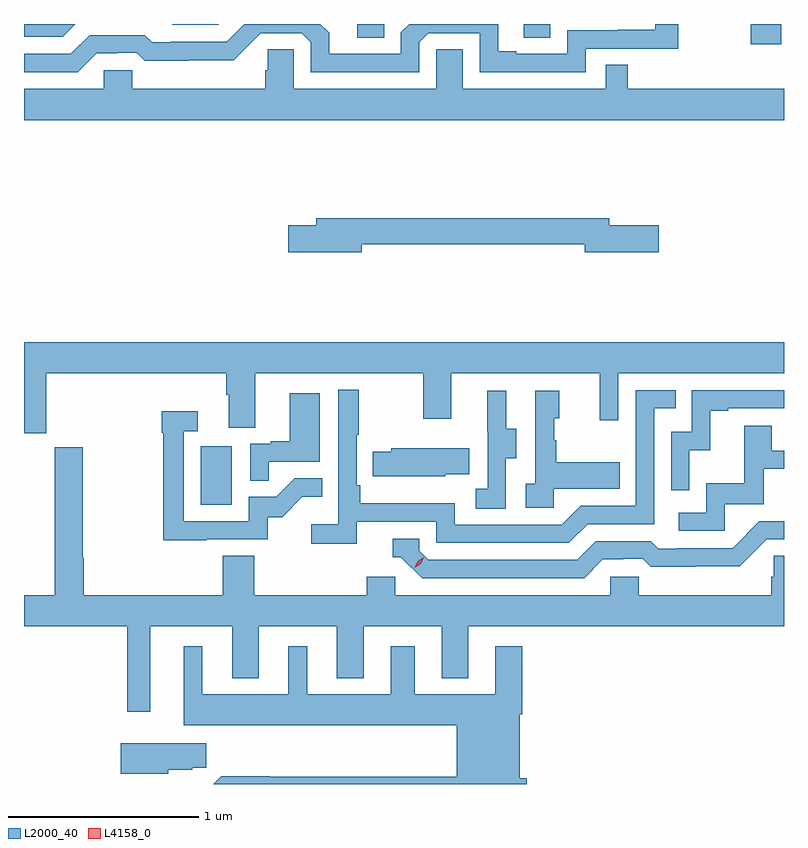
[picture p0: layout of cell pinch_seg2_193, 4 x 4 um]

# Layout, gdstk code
import gdstk
lib = gdstk.Library(unit=1e-6, precision=1e-09)
def R(c, l, rs):  # rectangles x0, y0, x1, y1
    for r in rs: c.add(gdstk.rectangle(r[:2], r[2:], *l))
def P(c, l, *ps):  # polygons
    for p in ps: c.add(gdstk.Polygon(p, *l))
L2000_40 = (2000, 40)
L4158_0 = (4158, 0)

pinch_seg2_193 = lib.new_cell('pinch_seg2_193')
R(pinch_seg2_193, L2000_40, [(998.264,661.596,998.428,661.903), (1001.159,664.02,1001.32,664.126), (999.089,664.054,999.229,664.126), (999.965,664.054,1000.105,664.126), (998.115,664.122,998.358,664.126)])
P(pinch_seg2_193, L2000_40, [(997.604,664.126),(997.334,664.126),(997.334,664.059),(997.537,664.059)],
  [(997.717,663.972),(997.824,663.972),(997.824,663.975),(997.927,663.975),(997.969,663.933),(998.202,663.933),(998.202,663.935),(998.438,663.935),(998.58,664.077),(998.796,664.077),(998.844,664.029),(998.844,663.873),(999.414,663.873),(999.414,664.029),(999.462,664.077),(999.732,664.077),(999.732,663.873),(1000.29,663.873),(1000.29,663.996),(1000.777,663.996),(1000.777,664.126),(1000.656,664.126),(1000.656,664.097),(1000.459,664.097),(1000.459,664.092),(1000.194,664.092),(1000.194,663.969),(999.925,663.969),(999.925,663.982),(999.829,663.982),(999.829,664.126),(999.361,664.126),(999.318,664.083),(999.318,663.969),(998.941,663.969),(998.941,664.079),(998.894,664.126),(998.494,664.126),(998.4,664.032),(998.107,664.032),(998.107,664.029),(998.008,664.029),(997.969,664.068),(997.68,664.068),(997.581,663.969),(997.334,663.969),(997.334,663.873),(997.618,663.873)],
  [(1001.334,663.784),(1000.511,663.784),(1000.511,663.911),(1000.395,663.911),(1000.395,663.784),(999.643,663.784),(999.643,663.992),(999.504,663.992),(999.504,663.784),(998.754,663.784),(998.754,663.992),(998.617,663.992),(998.617,663.882),(998.603,663.882),(998.603,663.784),(997.905,663.784),(997.905,663.882),(997.755,663.882),(997.755,663.784),(997.334,663.784),(997.334,663.62),(1001.334,663.62)],
  [(999.112,662.968),(1000.286,662.968),(1000.286,662.926),(1000.675,662.926),(1000.675,663.068),(1000.414,663.068),(1000.414,663.104),(998.873,663.104),(998.873,663.068),(998.724,663.068),(998.724,662.926),(999.112,662.926)],
  [(997.45,662.288),(998.399,662.288),(998.399,662.176),(998.411,662.176),(998.411,662.002),(998.551,662.002),(998.551,662.288),(999.436,662.288),(999.436,662.049),(999.583,662.049),(999.583,662.288),(1000.364,662.288),(1000.364,662.04),(1000.461,662.04),(1000.461,662.288),(1001.334,662.288),(1001.334,662.452),(997.334,662.452),(997.334,661.971),(997.45,661.971)],
  [(999.086,661.506),(999.504,661.506),(999.504,661.395),(1000.201,661.395),(1000.3,661.494),(1000.65,661.494),(1000.65,662.103),(1000.763,662.103),(1000.763,662.199),(1000.554,662.199),(1000.554,661.59),(1000.263,661.59),(1000.164,661.491),(999.6,661.491),(999.6,661.603),(999.103,661.603),(999.103,661.699),(999.084,661.699),(999.084,661.963),(999.097,661.963),(999.097,662.2),(998.988,662.2),(998.988,661.492),(998.847,661.492),(998.847,661.39),(999.086,661.39)],
  [(1000.836,661.883),(1000.946,661.883),(1000.946,662.091),(1001.041,662.091),(1001.041,662.103),(1001.334,662.103),(1001.334,662.199),(1000.848,662.199),(1000.848,661.98),(1000.74,661.98),(1000.74,661.671),(1000.836,661.671)],
  [(1000.122,661.679),(1000.469,661.679),(1000.469,661.819),(1000.135,661.819),(1000.135,661.934),(1000.125,661.934),(1000.125,662.052),(1000.15,662.052),(1000.15,662.197),(1000.026,662.197),(1000.026,661.706),(999.975,661.706),(999.975,661.581),(1000.122,661.581)],
  [(999.87,661.84),(999.925,661.84),(999.925,661.995),(999.871,661.995),(999.871,662.197),(999.773,662.197),(999.773,661.983),(999.774,661.983),(999.774,661.679),(999.711,661.679),(999.711,661.576),(999.87,661.576)],
  [(998.621,661.821),(998.89,661.821),(998.89,662.182),(998.732,662.182),(998.732,661.93),(998.633,661.93),(998.633,661.917),(998.526,661.917),(998.526,661.723),(998.621,661.723)],
  [(998.297,661.413),(998.616,661.413),(998.616,661.53),(998.692,661.53),(998.799,661.637),(998.903,661.637),(998.903,661.736),(998.759,661.736),(998.661,661.638),(998.517,661.638),(998.517,661.509),(998.175,661.509),(998.175,661.983),(998.248,661.983),(998.248,662.089),(998.059,662.089),(998.059,661.976),(998.067,661.976),(998.067,661.408),(998.297,661.408)],
  [(1001.022,661.599),(1001.227,661.599),(1001.227,661.785),(1001.334,661.785),(1001.334,661.881),(1001.269,661.881),(1001.269,662.011),(1001.125,662.011),(1001.125,661.708),(1000.926,661.708),(1000.926,661.554),(1000.779,661.554),(1000.779,661.458),(1001.022,661.458)],
  [(997.878,660.507),(997.999,660.507),(997.999,660.956),(998.429,660.956),(998.429,660.683),(998.569,660.683),(998.569,660.956),(998.981,660.956),(998.981,660.683),(999.121,660.683),(999.121,660.956),(999.533,660.956),(999.533,660.683),(999.673,660.683),(999.673,660.956),(1001.334,660.956),(1001.334,661.328),(1001.281,661.328),(1001.281,661.218),(1001.267,661.218),(1001.267,661.12),(1000.569,661.12),(1000.569,661.218),(1000.419,661.218),(1000.419,661.12),(999.288,661.12),(999.288,661.218),(999.137,661.218),(999.137,661.12),(998.546,661.12),(998.546,661.328),(998.381,661.328),(998.381,661.12),(997.649,661.12),(997.649,661.316),(997.644,661.316),(997.644,661.899),(997.496,661.899),(997.496,661.12),(997.334,661.12),(997.334,660.956),(997.878,660.956)],
  [(999.552,661.757),(999.677,661.757),(999.677,661.894),(999.267,661.894),(999.267,661.875),(999.169,661.875),(999.169,661.745),(999.552,661.745)],
  [(1000.381,661.308),(1000.488,661.308),(1000.488,661.311),(1000.591,661.311),(1000.633,661.269),(1000.866,661.269),(1000.866,661.271),(1001.102,661.271),(1001.244,661.413),(1001.334,661.413),(1001.334,661.509),(1001.205,661.509),(1001.064,661.368),(1000.771,661.368),(1000.771,661.365),(1000.672,661.365),(1000.633,661.404),(1000.344,661.404),(1000.245,661.305),(999.462,661.305),(999.414,661.353),(999.414,661.416),(999.275,661.416),(999.275,661.32),(999.318,661.32),(999.429,661.209),(1000.282,661.209)],
  [(999.98,660.156),(999.943,660.156),(999.943,660.494),(999.956,660.494),(999.956,660.85),(999.815,660.85),(999.815,660.598),(999.391,660.598),(999.391,660.85),(999.263,660.85),(999.263,660.598),(998.824,660.598),(998.824,660.85),(998.726,660.85),(998.726,660.598),(998.272,660.598),(998.272,660.85),(998.174,660.85),(998.174,660.434),(999.611,660.434),(999.611,660.164),(998.627,660.164),(998.627,660.167),(998.372,660.167),(998.331,660.126),(999.98,660.126)],
  [(998.094,660.2),(998.22,660.2),(998.22,660.211),(998.293,660.211),(998.293,660.34),(997.844,660.34),(997.844,660.179),(998.094,660.179)])
P(pinch_seg2_193, L4158_0, [(999.391,661.266),(999.391,661.266),(999.407,661.299),(999.438,661.319),(999.438,661.319),(999.438,661.319),(999.422,661.286),(999.392,661.266)])

lib.write_gds('pinch_seg2_193.gds')
